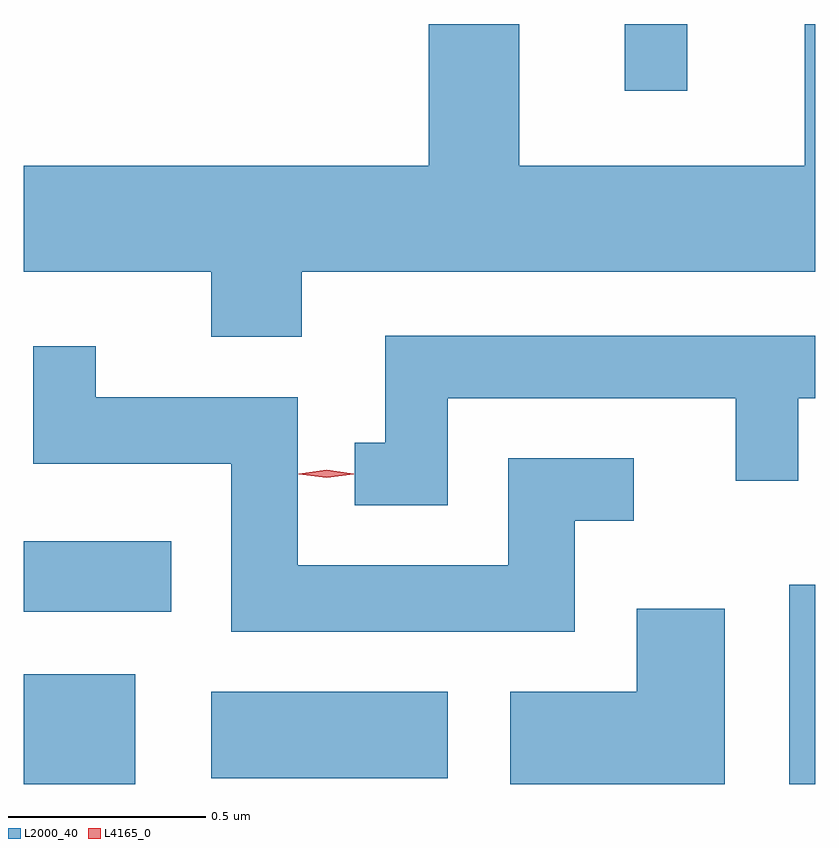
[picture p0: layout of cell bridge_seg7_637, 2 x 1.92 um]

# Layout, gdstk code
import gdstk
lib = gdstk.Library(unit=1e-6, precision=1e-09)
def R(c, l, rs):  # rectangles x0, y0, x1, y1
    for r in rs: c.add(gdstk.rectangle(r[:2], r[2:], *l))
def P(c, l, *ps):  # polygons
    for p in ps: c.add(gdstk.Polygon(p, *l))
L2000_40 = (2000, 40)
L4165_0 = (4165, 0)

bridge_seg7_637 = lib.new_cell('bridge_seg7_637')
R(bridge_seg7_637, L2000_40, [(807.517,1681.941,807.799,1682.219), (809.451,1681.941,809.517,1682.444), (807.991,1681.956,808.589,1682.174), (807.517,1682.376,807.889,1682.554), (809.036,1683.693,809.194,1683.862)])
P(bridge_seg7_637, L2000_40, [(808.219,1683.236),(809.517,1683.236),(809.517,1683.862),(809.491,1683.862),(809.491,1683.504),(808.769,1683.504),(808.769,1683.862),(808.541,1683.862),(808.541,1683.504),(807.517,1683.504),(807.517,1683.236),(807.991,1683.236),(807.991,1683.071),(808.219,1683.071)],
  [(808.589,1682.916),(809.316,1682.916),(809.316,1682.708),(809.474,1682.708),(809.474,1682.916),(809.517,1682.916),(809.517,1683.074),(808.431,1683.074),(808.431,1682.804),(808.353,1682.804),(808.353,1682.646),(808.589,1682.646)],
  [(808.909,1682.606),(809.058,1682.606),(809.058,1682.764),(808.741,1682.764),(808.741,1682.494),(808.209,1682.494),(808.209,1682.919),(807.699,1682.919),(807.699,1683.048),(807.541,1683.048),(807.541,1682.751),(808.041,1682.751),(808.041,1682.326),(808.909,1682.326)],
  [(809.289,1682.384),(809.066,1682.384),(809.066,1682.174),(808.746,1682.174),(808.746,1681.941),(809.289,1681.941)])
P(bridge_seg7_637, L4165_0, [(808.282,1682.715),(808.212,1682.724),(808.212,1682.725),(808.212,1682.725),(808.282,1682.735),(808.351,1682.725),(808.351,1682.725),(808.351,1682.724)])

lib.write_gds('bridge_seg7_637.gds')
